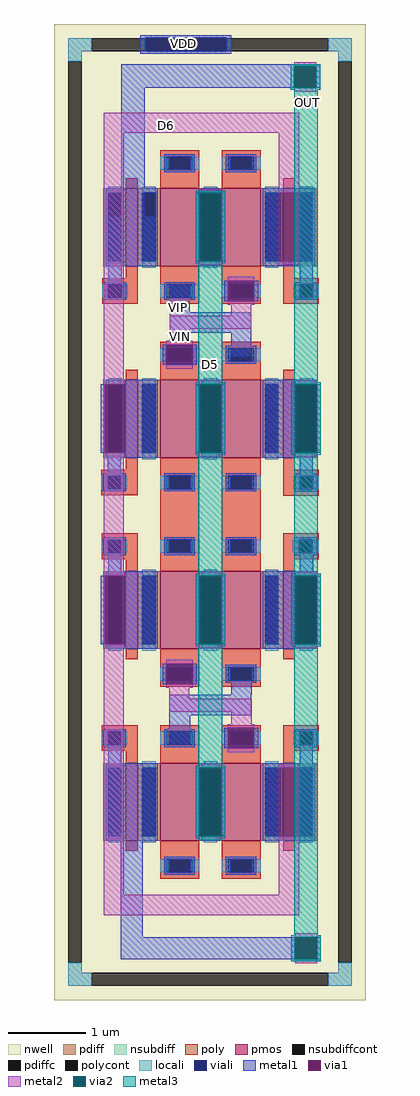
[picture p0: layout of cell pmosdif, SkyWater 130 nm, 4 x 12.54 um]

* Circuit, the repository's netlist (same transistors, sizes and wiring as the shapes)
** sch_path: /home/bagatraya/icpolytron/opamp/mag/pmosdif.sch
.subckt pmosdif VIN VIP OUT VDD D5 D6
*.PININFO VIN:I VIP:I OUT:O VDD:B D5:B D6:B
XM6 D6 VIN D5 VDD sky130_fd_pr__pfet_01v8 L=0.5 W=1 nf=1 m=4
XM7 OUT VIP D5 VDD sky130_fd_pr__pfet_01v8 L=0.5 W=1 nf=1 m=4
XM1 D6 D6 D6 VDD sky130_fd_pr__pfet_01v8 L=0.15 W=1 nf=1 m=4
XM2 OUT OUT OUT VDD sky130_fd_pr__pfet_01v8 L=0.15 W=1 nf=1 m=4
.ends
.end

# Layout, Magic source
magic
tech sky130A
magscale 1 2
<< nwell >>
rect 324 -1596 1124 912
<< nsubdiff >>
rect 360 842 420 876
rect 1028 842 1088 876
rect 360 816 394 842
rect 1054 816 1088 842
rect 360 -1526 394 -1500
rect 1054 -1526 1088 -1500
rect 360 -1560 420 -1526
rect 1028 -1560 1088 -1526
<< nsubdiffcont >>
rect 420 842 1028 876
rect 360 -1500 394 816
rect 1054 -1500 1088 816
rect 420 -1560 1028 -1526
<< poly >>
rect 508 259 538 289
rect 447 243 538 259
rect 447 209 463 243
rect 497 209 538 243
rect 447 193 538 209
rect 912 259 942 301
rect 912 243 1004 259
rect 912 209 954 243
rect 988 209 1004 243
rect 912 193 1004 209
rect 508 -233 538 -203
rect 445 -249 538 -233
rect 445 -283 461 -249
rect 495 -283 538 -249
rect 445 -299 538 -283
rect 912 -234 942 -202
rect 912 -250 1004 -234
rect 912 -284 954 -250
rect 988 -284 1004 -250
rect 596 -397 696 -299
rect 754 -397 854 -299
rect 912 -300 1004 -284
rect 446 -413 538 -397
rect 446 -447 462 -413
rect 496 -447 538 -413
rect 446 -463 538 -447
rect 508 -494 538 -463
rect 912 -413 1003 -397
rect 912 -447 953 -413
rect 987 -447 1003 -413
rect 912 -463 1003 -447
rect 912 -494 942 -463
rect 446 -906 538 -890
rect 446 -940 462 -906
rect 496 -940 538 -906
rect 446 -956 538 -940
rect 508 -987 538 -956
rect 912 -906 1004 -890
rect 912 -940 954 -906
rect 988 -940 1004 -906
rect 912 -956 1004 -940
rect 912 -987 942 -956
<< polycont >>
rect 463 209 497 243
rect 954 209 988 243
rect 461 -283 495 -249
rect 954 -284 988 -250
rect 462 -447 496 -413
rect 953 -447 987 -413
rect 462 -940 496 -906
rect 954 -940 988 -906
<< locali >>
rect 360 842 420 876
rect 1028 842 1088 876
rect 360 816 394 842
rect 1054 816 1088 842
rect 462 243 497 302
rect 954 243 988 302
rect 447 209 463 243
rect 497 209 513 243
rect 938 209 954 243
rect 988 209 1004 243
rect 461 -249 495 -190
rect 445 -283 461 -249
rect 495 -283 511 -249
rect 954 -250 988 -190
rect 938 -284 954 -250
rect 988 -284 1004 -250
rect 446 -447 462 -413
rect 496 -447 512 -413
rect 937 -447 953 -413
rect 987 -447 1003 -413
rect 462 -506 496 -447
rect 954 -506 989 -447
rect 446 -940 462 -906
rect 496 -940 512 -906
rect 938 -940 954 -906
rect 988 -940 1004 -906
rect 462 -999 496 -940
rect 954 -999 988 -940
rect 360 -1526 394 -1500
rect 1054 -1526 1088 -1500
rect 360 -1560 420 -1526
rect 1028 -1560 1088 -1526
<< viali >>
rect 557 876 767 877
rect 557 842 767 876
rect 463 209 497 243
rect 954 209 988 243
rect 461 -283 495 -249
rect 954 -284 988 -250
rect 462 -447 496 -413
rect 953 -447 987 -413
rect 462 -940 496 -906
rect 954 -940 988 -906
<< metal1 >>
rect 545 877 779 883
rect 545 842 557 877
rect 767 842 779 877
rect 545 836 779 842
rect 496 804 1002 808
rect 496 748 941 804
rect 997 748 1007 804
rect 496 418 556 748
rect 860 478 994 490
rect 456 289 590 418
rect 687 302 697 478
rect 753 302 763 478
rect 860 302 901 478
rect 953 302 994 478
rect 860 290 994 302
rect 462 249 497 289
rect 451 243 509 249
rect 451 209 463 243
rect 497 209 509 243
rect 451 203 509 209
rect 620 171 672 243
rect 760 200 770 252
rect 838 200 848 252
rect 954 249 988 290
rect 942 243 1000 249
rect 942 209 954 243
rect 988 209 1000 243
rect 942 203 1000 209
rect 620 119 830 171
rect 602 36 612 88
rect 680 36 690 88
rect 778 57 830 119
rect 456 -14 590 -2
rect 860 -14 994 -2
rect 443 -190 453 -14
rect 505 -190 590 -14
rect 687 -190 697 -14
rect 753 -190 763 -14
rect 860 -190 943 -14
rect 999 -190 1009 -14
rect 456 -202 590 -190
rect 860 -202 994 -190
rect 461 -243 495 -202
rect 449 -249 507 -243
rect 954 -244 988 -202
rect 449 -283 461 -249
rect 495 -283 507 -249
rect 449 -289 507 -283
rect 942 -250 1000 -244
rect 942 -284 954 -250
rect 988 -284 1000 -250
rect 942 -290 1000 -284
rect 450 -413 508 -407
rect 450 -447 462 -413
rect 496 -447 508 -413
rect 450 -453 508 -447
rect 941 -413 999 -407
rect 941 -447 953 -413
rect 987 -447 999 -413
rect 941 -453 999 -447
rect 462 -494 496 -453
rect 954 -494 989 -453
rect 456 -506 590 -494
rect 860 -506 994 -494
rect 443 -682 453 -506
rect 505 -682 590 -506
rect 687 -682 697 -506
rect 753 -682 763 -506
rect 860 -682 943 -506
rect 999 -682 1009 -506
rect 456 -694 590 -682
rect 860 -694 994 -682
rect 602 -784 612 -732
rect 680 -784 690 -732
rect 779 -812 831 -775
rect 619 -864 830 -812
rect 619 -898 673 -864
rect 450 -906 508 -900
rect 450 -940 462 -906
rect 496 -940 508 -906
rect 450 -946 508 -940
rect 462 -987 496 -946
rect 616 -947 676 -898
rect 760 -949 770 -897
rect 838 -949 848 -897
rect 942 -906 1000 -900
rect 942 -940 954 -906
rect 988 -940 1000 -906
rect 942 -946 1000 -940
rect 954 -987 988 -946
rect 456 -1187 590 -987
rect 860 -999 994 -987
rect 687 -1175 697 -999
rect 753 -1175 763 -999
rect 860 -1175 901 -999
rect 953 -1175 994 -999
rect 860 -1187 994 -1175
rect 495 -1435 551 -1187
rect 495 -1491 943 -1435
rect 999 -1491 1009 -1435
<< via1 >>
rect 941 748 997 804
rect 697 302 753 478
rect 901 302 953 478
rect 770 200 838 252
rect 612 36 680 88
rect 453 -190 505 -14
rect 697 -190 753 -14
rect 943 -190 999 -14
rect 453 -682 505 -506
rect 697 -682 753 -506
rect 943 -682 999 -506
rect 612 -784 680 -732
rect 770 -949 838 -897
rect 697 -1175 753 -999
rect 901 -1175 953 -999
rect 943 -1491 999 -1435
<< metal2 >>
rect 941 804 997 814
rect 941 739 997 748
rect 955 738 997 739
rect 451 632 953 684
rect 451 -4 503 632
rect 697 478 753 488
rect 697 292 753 302
rect 901 478 953 632
rect 901 292 953 302
rect 770 252 838 262
rect 770 190 838 200
rect 778 162 830 190
rect 620 129 830 162
rect 620 98 672 129
rect 612 88 680 98
rect 612 26 680 36
rect 451 -14 505 -4
rect 451 -190 453 -14
rect 451 -200 505 -190
rect 697 -14 753 -4
rect 697 -200 753 -190
rect 943 -14 999 -4
rect 943 -200 999 -190
rect 451 -496 503 -200
rect 451 -506 505 -496
rect 451 -682 453 -506
rect 451 -692 505 -682
rect 697 -506 753 -496
rect 697 -692 753 -682
rect 943 -506 999 -496
rect 943 -692 999 -682
rect 451 -1326 503 -692
rect 612 -732 680 -722
rect 612 -794 680 -784
rect 619 -822 671 -794
rect 619 -855 831 -822
rect 779 -887 831 -855
rect 770 -897 838 -887
rect 770 -959 838 -949
rect 697 -999 753 -989
rect 697 -1185 753 -1175
rect 901 -999 953 -989
rect 901 -1326 953 -1175
rect 451 -1378 953 -1326
rect 943 -1433 999 -1425
rect 941 -1435 1001 -1433
rect 941 -1491 943 -1435
rect 999 -1491 1001 -1435
rect 941 -1493 1001 -1491
rect 943 -1501 999 -1493
<< via2 >>
rect 941 748 997 804
rect 697 302 753 478
rect 697 -190 753 -14
rect 943 -190 999 -14
rect 697 -682 753 -506
rect 943 -682 999 -506
rect 697 -1175 753 -999
rect 943 -1491 999 -1435
<< metal3 >>
rect 931 804 1007 809
rect 931 748 941 804
rect 997 748 1007 804
rect 931 743 1007 748
rect 687 478 763 483
rect 687 302 697 478
rect 753 302 763 478
rect 687 297 763 302
rect 694 -9 755 297
rect 941 -9 1001 743
rect 687 -14 763 -9
rect 687 -190 697 -14
rect 753 -190 763 -14
rect 687 -195 763 -190
rect 933 -14 1009 -9
rect 933 -190 943 -14
rect 999 -190 1009 -14
rect 933 -195 1009 -190
rect 694 -501 755 -195
rect 941 -501 1001 -195
rect 687 -506 763 -501
rect 687 -682 697 -506
rect 753 -682 763 -506
rect 687 -687 763 -682
rect 933 -506 1009 -501
rect 933 -682 943 -506
rect 999 -682 1009 -506
rect 933 -687 1009 -682
rect 694 -994 755 -687
rect 687 -999 763 -994
rect 687 -1175 697 -999
rect 753 -1175 763 -999
rect 687 -1180 763 -1175
rect 694 -1186 755 -1180
rect 941 -1430 1001 -687
rect 933 -1435 1009 -1430
rect 933 -1491 943 -1435
rect 999 -1491 1009 -1435
rect 933 -1496 1009 -1491
rect 941 -1497 1001 -1496
use sky130_fd_pr__pfet_01v8_2XUZHN  sky130_fd_pr__pfet_01v8_2XUZHN_0
transform 1 0 927 0 1 390
box -109 -162 109 162
use sky130_fd_pr__pfet_01v8_2XUZHN  sky130_fd_pr__pfet_01v8_2XUZHN_1
transform 1 0 523 0 1 390
box -109 -162 109 162
use sky130_fd_pr__pfet_01v8_2XUZHN  sky130_fd_pr__pfet_01v8_2XUZHN_2
transform 1 0 523 0 1 -102
box -109 -162 109 162
use sky130_fd_pr__pfet_01v8_2XUZHN  sky130_fd_pr__pfet_01v8_2XUZHN_3
transform 1 0 927 0 1 -102
box -109 -162 109 162
use sky130_fd_pr__pfet_01v8_2XUZHN  sky130_fd_pr__pfet_01v8_2XUZHN_4
transform 1 0 523 0 1 -594
box -109 -162 109 162
use sky130_fd_pr__pfet_01v8_2XUZHN  sky130_fd_pr__pfet_01v8_2XUZHN_5
transform 1 0 927 0 1 -594
box -109 -162 109 162
use sky130_fd_pr__pfet_01v8_2XUZHN  sky130_fd_pr__pfet_01v8_2XUZHN_6
transform 1 0 523 0 1 -1087
box -109 -162 109 162
use sky130_fd_pr__pfet_01v8_2XUZHN  sky130_fd_pr__pfet_01v8_2XUZHN_7
transform 1 0 927 0 1 -1087
box -109 -162 109 162
use sky130_fd_pr__pfet_01v8_VQXXLL  sky130_fd_pr__pfet_01v8_VQXXLL_0
transform 1 0 725 0 1 -1087
box -223 -200 223 200
use sky130_fd_pr__pfet_01v8_VQXXLL  sky130_fd_pr__pfet_01v8_VQXXLL_1
transform 1 0 725 0 1 -594
box -223 -200 223 200
use sky130_fd_pr__pfet_01v8_VQXXLL  sky130_fd_pr__pfet_01v8_VQXXLL_2
transform 1 0 725 0 1 -102
box -223 -200 223 200
use sky130_fd_pr__pfet_01v8_VQXXLL  sky130_fd_pr__pfet_01v8_VQXXLL_3
transform 1 0 725 0 1 390
box -223 -200 223 200
<< labels >>
flabel viali 655 861 655 861 0 FreeSans 480 0 0 0 VDD
port 0 nsew
flabel metal1 644 184 644 184 0 FreeSans 480 0 0 0 VIP
port 3 nsew
flabel metal2 648 110 648 110 0 FreeSans 480 0 0 0 VIN
port 4 nsew
flabel metal3 724 38 724 38 0 FreeSans 480 0 0 0 D5
port 5 nsew
flabel metal2 612 652 612 652 0 FreeSans 480 0 0 0 D6
port 1 nsew
flabel metal3 974 710 974 710 0 FreeSans 480 0 0 0 OUT
port 2 nsew
<< end >>

# cell sky130_fd_pr__pfet_01v8_2XUZHN: kit device sky130_fd_pr__pfet_01v8, w 1 l 0.15 m 1 nf 1 diffcov 100 polycov 100 guard 0 glc 1 grc 1 gtc 1 gbc 1 tbcov 100 rlcov 100 topc 0 botc 0 poverlap 0 doverlap 1 lmin 0.15 wmin 0.42 compatible {sky130_fd_pr__pfet_01v8 sky130_fd_pr__pfet_01v8_lvt sky130_fd_pr__pfet_01v8_hvt sky130_fd_pr__pfet_g5v0d10v5} full_metal 1 viasrc 100 viadrn 100 viagate 100 viagb 0 viagr 0 viagl 0 viagt 0

# cell sky130_fd_pr__pfet_01v8_VQXXLL: kit device sky130_fd_pr__pfet_01v8, w 1 l 0.5 m 1 nf 2 diffcov 100 polycov 100 guard 0 glc 1 grc 1 gtc 1 gbc 1 tbcov 100 rlcov 100 topc 1 botc 1 poverlap 0 doverlap 1 lmin 0.15 wmin 0.42 compatible {sky130_fd_pr__pfet_01v8 sky130_fd_pr__pfet_01v8_lvt sky130_fd_pr__pfet_01v8_hvt sky130_fd_pr__pfet_g5v0d10v5} full_metal 1 viasrc 100 viadrn 100 viagate 80 viagb 0 viagr 0 viagl 0 viagt 0
